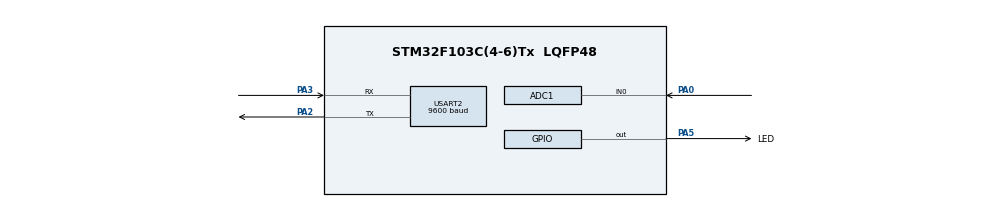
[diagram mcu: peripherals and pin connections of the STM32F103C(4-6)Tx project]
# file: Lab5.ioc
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ADC1.Channel-0\#ChannelRegularConversion=ADC_CHANNEL_0
ADC1.ContinuousConvMode=ENABLE
ADC1.NbrOfConversionFlag=1
ADC1.Rank-0\#ChannelRegularConversion=1
ADC1.SamplingTime-0\#ChannelRegularConversion=ADC_SAMPLETIME_1CYCLE_5
ADC1.master=1
Mcu.Family=STM32F1
Mcu.Name=STM32F103C(4-6)Tx
Mcu.Package=LQFP48
NVIC.PriorityGroup=NVIC_PRIORITYGROUP_4
NVIC.TIM2_IRQn=true\:0\:0\:true\:false\:true\:true\:true
NVIC.USART2_IRQn=true\:0\:0\:true\:false\:true\:true\:true
PA0-WKUP.Signal=ADCx_IN0
PA2.Mode=Asynchronous
PA2.Signal=USART2_TX
PA3.Mode=Asynchronous
PA3.Signal=USART2_RX
PA5.GPIO_Label=LED
PA5.Signal=GPIO_Output
ProjectManager.HeapSize=0x200
ProjectManager.StackSize=0x400
ProjectManager.TargetToolchain=STM32CubeIDE
RCC.APB1Freq_Value=8000000
RCC.APB2Freq_Value=8000000
SH.ADCx_IN0.0=ADC1_IN0,IN0
TIM2.Period=9
TIM2.Prescaler=7999
USART2.BaudRate=9600
USART2.VirtualMode=VM_ASYNC
VP_SYS_VS_ND.Mode=No_Debug
VP_TIM2_VS_ClockSourceINT.Mode=Internal
board=custom

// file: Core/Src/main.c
/* USER CODE BEGIN Header */
/**
  ******************************************************************************
  * @file           : main.c
  * @brief          : Main program body
  ******************************************************************************
  * @attention
  *
  * <h2><center>&copy; Copyright (c) 2022 STMicroelectronics.
  * All rights reserved.</center></h2>
  *
  * This software component is licensed by ST under BSD 3-Clause license,
  * the "License"; You may not use this file except in compliance with the
  * License. You may obtain a copy of the License at:
  *                        opensource.org/licenses/BSD-3-Clause
  *
  ******************************************************************************
  */
/* USER CODE END Header */
#include "main.h"

/* USER CODE BEGIN Includes */
#include "global.h"
/* USER CODE END Includes */

ADC_HandleTypeDef hadc1;

TIM_HandleTypeDef htim2;

UART_HandleTypeDef huart2;

void SystemClock_Config(void);
static void MX_GPIO_Init(void);
static void MX_ADC1_Init(void);
static void MX_USART2_UART_Init(void);
static void MX_TIM2_Init(void);

/* USER CODE BEGIN 0 */

void HAL_UART_RxCpltCallback (UART_HandleTypeDef * huart){
	if( huart->Instance == USART2 ) {
		HAL_UART_Transmit (&huart2 , &temp , 1, 50);
		buffer[index_buffer++] = temp;

		if (buffer[index_buffer-1] == 8) {
			index_buffer-=2;
		}

		if (index_buffer == 30) index_buffer = 0;
		buffer_flag  = 1;
		HAL_UART_Receive_IT (&huart2, &temp, 1);
	}
}

/* USER CODE END 0 */

int main(void)
{

  /* MCU Configuration--------------------------------------------------------*/

  /* Reset of all peripherals, Initializes the Flash interface and the Systick. */
  HAL_Init();

  /* Configure the system clock */
  SystemClock_Config();

  /* Initialize all configured peripherals */
  MX_GPIO_Init();
  MX_ADC1_Init();
  MX_USART2_UART_Init();
  MX_TIM2_Init();
  /* USER CODE BEGIN 2 */
  HAL_TIM_Base_Start_IT (&htim2);
  HAL_UART_Receive_IT(&huart2, &temp, 1);

  HAL_ADC_Start(&hadc1);
  /* USER CODE END 2 */

  /* Infinite loop */
  /* USER CODE BEGIN WHILE */
  char str[20];
  setTimer0(100);
  while (1)
  {
	  ADC_value = HAL_ADC_GetValue(&hadc1) ;
	  if(buffer_flag == 1){
		  buffer_flag = 0;
		  if (check(index_buffer-1) == 1){
			  command_parser_fsm();
		  }
	  }
	  // State ADC
	  if (command_status == 1){
		  if (timer0_flag == 1){
			  HAL_UART_Transmit (&huart2 , (void *) str , sprintf(str, "!ADC=%d#\r\n",old_value) , 500) ;
			  setTimer0(3000);
		  }
	  }
	  HAL_GPIO_TogglePin(LED_GPIO_Port , LED_Pin ) ;
	  HAL_Delay(500);
    /* USER CODE END WHILE */

  }
}

void SystemClock_Config(void)
{
  RCC_OscInitTypeDef RCC_OscInitStruct = {0};
  RCC_ClkInitTypeDef RCC_ClkInitStruct = {0};
  RCC_PeriphCLKInitTypeDef PeriphClkInit = {0};

  /** Initializes the RCC Oscillators according to the specified parameters
  * in the RCC_OscInitTypeDef structure.
  */
  RCC_OscInitStruct.OscillatorType = RCC_OSCILLATORTYPE_HSI;
  RCC_OscInitStruct.HSIState = RCC_HSI_ON;
  RCC_OscInitStruct.HSICalibrationValue = RCC_HSICALIBRATION_DEFAULT;
  RCC_OscInitStruct.PLL.PLLState = RCC_PLL_NONE;
  if (HAL_RCC_OscConfig(&RCC_OscInitStruct) != HAL_OK)
  {
    Error_Handler();
  }
  /** Initializes the CPU, AHB and APB buses clocks
  */
  RCC_ClkInitStruct.ClockType = RCC_CLOCKTYPE_HCLK|RCC_CLOCKTYPE_SYSCLK
                              |RCC_CLOCKTYPE_PCLK1|RCC_CLOCKTYPE_PCLK2;
  RCC_ClkInitStruct.SYSCLKSource = RCC_SYSCLKSOURCE_HSI;
  RCC_ClkInitStruct.AHBCLKDivider = RCC_SYSCLK_DIV1;
  RCC_ClkInitStruct.APB1CLKDivider = RCC_HCLK_DIV1;
  RCC_ClkInitStruct.APB2CLKDivider = RCC_HCLK_DIV1;

  if (HAL_RCC_ClockConfig(&RCC_ClkInitStruct, FLASH_LATENCY_0) != HAL_OK)
  {
    Error_Handler();
  }
  PeriphClkInit.PeriphClockSelection = RCC_PERIPHCLK_ADC;
  PeriphClkInit.AdcClockSelection = RCC_ADCPCLK2_DIV2;
  if (HAL_RCCEx_PeriphCLKConfig(&PeriphClkInit) != HAL_OK)
  {
    Error_Handler();
  }
}

static void MX_ADC1_Init(void)
{

  ADC_ChannelConfTypeDef sConfig = {0};

  /** Common config
  */
  hadc1.Instance = ADC1;
  hadc1.Init.ScanConvMode = ADC_SCAN_DISABLE;
  hadc1.Init.ContinuousConvMode = ENABLE;
  hadc1.Init.DiscontinuousConvMode = DISABLE;
  hadc1.Init.ExternalTrigConv = ADC_SOFTWARE_START;
  hadc1.Init.DataAlign = ADC_DATAALIGN_RIGHT;
  hadc1.Init.NbrOfConversion = 1;
  if (HAL_ADC_Init(&hadc1) != HAL_OK)
  {
    Error_Handler();
  }
  /** Configure Regular Channel
  */
  sConfig.Channel = ADC_CHANNEL_0;
  sConfig.Rank = ADC_REGULAR_RANK_1;
  sConfig.SamplingTime = ADC_SAMPLETIME_1CYCLE_5;
  if (HAL_ADC_ConfigChannel(&hadc1, &sConfig) != HAL_OK)
  {
    Error_Handler();
  }

}

static void MX_TIM2_Init(void)
{

  TIM_ClockConfigTypeDef sClockSourceConfig = {0};
  TIM_MasterConfigTypeDef sMasterConfig = {0};

  htim2.Instance = TIM2;
  htim2.Init.Prescaler = 7999;
  htim2.Init.CounterMode = TIM_COUNTERMODE_UP;
  htim2.Init.Period = 9;
  htim2.Init.ClockDivision = TIM_CLOCKDIVISION_DIV1;
  htim2.Init.AutoReloadPreload = TIM_AUTORELOAD_PRELOAD_DISABLE;
  if (HAL_TIM_Base_Init(&htim2) != HAL_OK)
  {
    Error_Handler();
  }
  sClockSourceConfig.ClockSource = TIM_CLOCKSOURCE_INTERNAL;
  if (HAL_TIM_ConfigClockSource(&htim2, &sClockSourceConfig) != HAL_OK)
  {
    Error_Handler();
  }
  sMasterConfig.MasterOutputTrigger = TIM_TRGO_RESET;
  sMasterConfig.MasterSlaveMode = TIM_MASTERSLAVEMODE_DISABLE;
  if (HAL_TIMEx_MasterConfigSynchronization(&htim2, &sMasterConfig) != HAL_OK)
  {
    Error_Handler();
  }

}

static void MX_USART2_UART_Init(void)
{

  huart2.Instance = USART2;
  huart2.Init.BaudRate = 9600;
  huart2.Init.WordLength = UART_WORDLENGTH_8B;
  huart2.Init.StopBits = UART_STOPBITS_1;
  huart2.Init.Parity = UART_PARITY_NONE;
  huart2.Init.Mode = UART_MODE_TX_RX;
  huart2.Init.HwFlowCtl = UART_HWCONTROL_NONE;
  huart2.Init.OverSampling = UART_OVERSAMPLING_16;
  if (HAL_UART_Init(&huart2) != HAL_OK)
  {
    Error_Handler();
  }

}

static void MX_GPIO_Init(void)
{
  GPIO_InitTypeDef GPIO_InitStruct = {0};

  /* GPIO Ports Clock Enable */
  __HAL_RCC_GPIOA_CLK_ENABLE();

  /*Configure GPIO pin Output Level */
  HAL_GPIO_WritePin(LED_GPIO_Port, LED_Pin, GPIO_PIN_RESET);

  /*Configure GPIO pin : LED_Pin */
  GPIO_InitStruct.Pin = LED_Pin;
  GPIO_InitStruct.Mode = GPIO_MODE_OUTPUT_PP;
  GPIO_InitStruct.Pull = GPIO_NOPULL;
  GPIO_InitStruct.Speed = GPIO_SPEED_FREQ_LOW;
  HAL_GPIO_Init(LED_GPIO_Port, &GPIO_InitStruct);

}

/* USER CODE BEGIN 4 */
void HAL_TIM_PeriodElapsedCallback(TIM_HandleTypeDef* htim){
	timerRun();
}
/* USER CODE END 4 */

void Error_Handler(void)
{
  __disable_irq();
  while (1)
  {
  }
}

/************************ (C) COPYRIGHT STMicroelectronics *****END OF FILE****/
